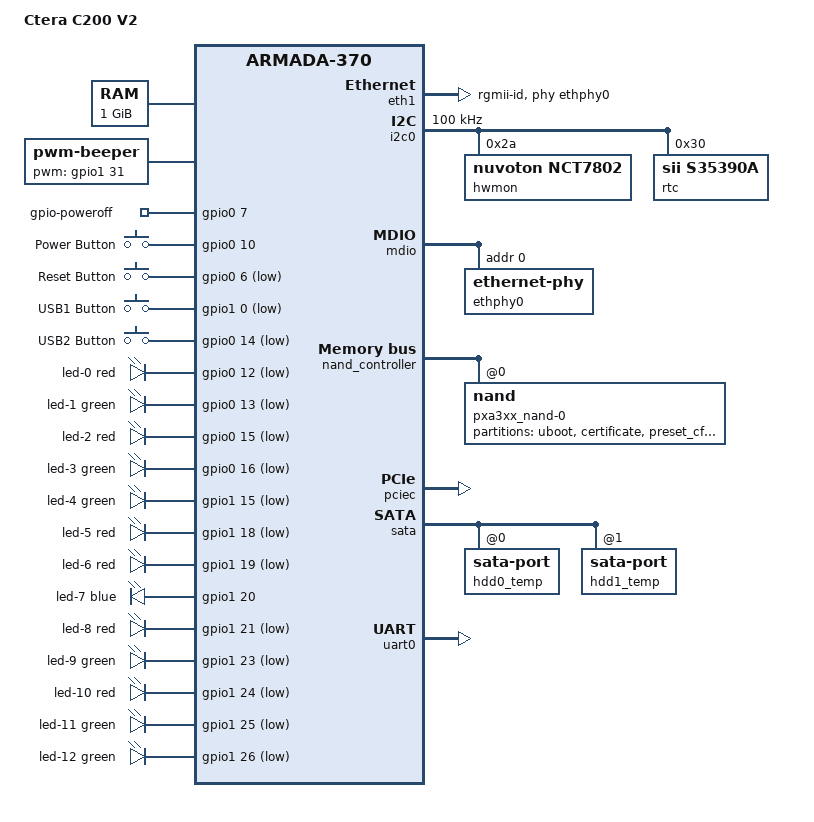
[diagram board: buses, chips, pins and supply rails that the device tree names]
// SPDX-License-Identifier: (GPL-2.0-or-later OR MIT)
/*
 * Device Tree file for Ctera C200-V2
 *
 * Copyright (C) 2022 Pawel Dembicki <paweldembicki@gmail.com>
 */

/dts-v1/;

#include "armada-370.dtsi"
#include <dt-bindings/gpio/gpio.h>
#include <dt-bindings/input/input.h>
#include <dt-bindings/thermal/thermal.h>
#include <dt-bindings/leds/common.h>

/ {
	model = "Ctera C200 V2";
	compatible = "ctera,c200-v2", "marvell,armada370", "marvell,armada-370-xp";

	chosen {
		bootargs = "console=ttyS0,115200";
		stdout-path = "serial0:115200n8";
	};

	memory {
		device_type = "memory";
		reg = <0x00000000 0x40000000>; /* 1024 MB */
	};

	soc {
		ranges = <MBUS_ID(0xf0, 0x01) 0 0xd0000000 0x100000
			  MBUS_ID(0x01, 0xe0) 0 0xfff00000 0x100000
			  MBUS_ID(0x09, 0x01) 0 0xf1100000 0x10000>;
	};

	thermal-zones {
		ethphy-thermal {
			polling-delay = <20000>;
			polling-delay-passive = <2000>;

			thermal-sensors = <&ethphy0>;

			trips {
				ethphy_alert1: trip1 {
					temperature = <65000>;
					hysteresis = <4000>;
					type = "passive";
				};

				ethphy_crit: trip2 {
					temperature = <100000>;
					hysteresis = <2000>;
					type = "critical";
				};
			};
		};
	};

	beeper {
		compatible = "pwm-beeper";
		pinctrl-0 = <&pmx_beeper>;
		pinctrl-names = "default";
		pwms = <&gpio1 31 4000>;
	};

	gpio-poweroff {
		compatible = "gpio-poweroff";
		pinctrl-0 = <&pmx_poweroff>;
		pinctrl-names = "default";
		gpios = <&gpio0 7 GPIO_ACTIVE_HIGH>;
	};

	keys {
		compatible = "gpio-keys";
		pinctrl-0 = <&pmx_buttons>;
		pinctrl-names = "default";

		button-power {
			label = "Power Button";
			linux,code = <KEY_POWER>;
			gpios = <&gpio0 10 GPIO_ACTIVE_HIGH>;
		};

		button-reset {
			label = "Reset Button";
			linux,code = <KEY_RESTART>;
			gpios = <&gpio0 6 GPIO_ACTIVE_LOW>;
		};

		button-usb1 {
			label = "USB1 Button";
			linux,code = <BTN_0>;
			gpios = <&gpio1 0 GPIO_ACTIVE_LOW>;
		};

		button-usb2 {
			label = "USB2 Button";
			linux,code = <BTN_1>;
			gpios = <&gpio0 14 GPIO_ACTIVE_LOW>;
		};
	};

	leds {
		compatible = "gpio-leds";
		pinctrl-0 = <&pmx_leds1 &pmx_leds2>;
		pinctrl-names = "default";

		led-0 {
			function = LED_FUNCTION_USB;
			function-enumerator = <2>;
			color = <LED_COLOR_ID_RED>;
			gpios = <&gpio0 12 GPIO_ACTIVE_LOW>;
		};

		led-1 {
			function = LED_FUNCTION_USB;
			function-enumerator = <2>;
			color = <LED_COLOR_ID_GREEN>;
			gpios = <&gpio0 13 GPIO_ACTIVE_LOW>;
		};

		led-2 {
			function = LED_FUNCTION_USB;
			function-enumerator = <1>;
			color = <LED_COLOR_ID_RED>;
			gpios = <&gpio0 15 GPIO_ACTIVE_LOW>;
		};

		led-3 {
			function = LED_FUNCTION_USB;
			function-enumerator = <1>;
			color = <LED_COLOR_ID_GREEN>;
			gpios = <&gpio0 16 GPIO_ACTIVE_LOW>;
		};

		led-4 {
			function = LED_FUNCTION_DISK;
			function-enumerator = <2>;
			color = <LED_COLOR_ID_GREEN>;
			gpios = <&gpio1 15 GPIO_ACTIVE_LOW>;
		};

		led-5 {
			function = LED_FUNCTION_DISK;
			function-enumerator = <1>;
			color = <LED_COLOR_ID_RED>;
			gpios = <&gpio1 18 GPIO_ACTIVE_LOW>;
		};

		led-6 {
			function = LED_FUNCTION_DISK;
			function-enumerator = <2>;
			color = <LED_COLOR_ID_RED>;
			gpios = <&gpio1 19 GPIO_ACTIVE_LOW>;
		};

		led-7 {
			function = LED_FUNCTION_INDICATOR;
			color = <LED_COLOR_ID_BLUE>;
			gpios = <&gpio1 20 GPIO_ACTIVE_HIGH>;
		};

		led-8 {
			function = LED_FUNCTION_DISK_ERR;
			color = <LED_COLOR_ID_RED>;
			gpios = <&gpio1 21 GPIO_ACTIVE_LOW>;
		};

		led-9 {
			function = LED_FUNCTION_DISK_ERR;
			color = <LED_COLOR_ID_GREEN>;
			gpios = <&gpio1 23 GPIO_ACTIVE_LOW>;
		};

		led-10 {
			function = LED_FUNCTION_STATUS;
			color = <LED_COLOR_ID_RED>;
			gpios = <&gpio1 24 GPIO_ACTIVE_LOW>;
		};

		led-11 {
			function = LED_FUNCTION_DISK;
			function-enumerator = <1>;
			color = <LED_COLOR_ID_GREEN>;
			gpios = <&gpio1 25 GPIO_ACTIVE_LOW>;
		};

		led-12 {
			function = LED_FUNCTION_STATUS;
			color = <LED_COLOR_ID_GREEN>;
			gpios = <&gpio1 26 GPIO_ACTIVE_LOW>;
		};
	};
};

&coherencyfab {
	broken-idle;
};

&eth1 {
	pinctrl-0 = <&ge1_rgmii_pins>;
	pinctrl-names = "default";
	status = "okay";
	phy-handle = <&ethphy0>;
	phy-connection-type = "rgmii-id";
};

&i2c0 {
	pinctrl-0 = <&i2c0_pins>;
	pinctrl-names = "default";
	clock-frequency = <100000>;
	status = "okay";

	hwmon@2a {
		compatible = "nuvoton,nct7802";
		reg = <0x2a>;
	};

	rtc@30 {
		compatible = "sii,s35390a";
		reg = <0x30>;
	};
};

&mdio {
	pinctrl-0 = <&mdio_pins>;
	pinctrl-names = "default";

	ethphy0: ethernet-phy@0 { /* Marvell 88E1318 */
		reg = <0>;
		#thermal-sensor-cells = <0>;
	};
};

&nand_controller {
	status = "okay";

	nand@0 {
		reg = <0>;
		label = "pxa3xx_nand-0";
		nand-rb = <0>;
		marvell,nand-keep-config;
		nand-on-flash-bbt;
		nand-ecc-strength = <4>;
		nand-ecc-step-size = <512>;

		partitions {
			compatible = "fixed-partitions";
			#address-cells = <1>;
			#size-cells = <1>;

			partition@0 {
				label = "uboot";
				reg = <0x0000000 0x200000>;
				read-only;
			};

			partition@200000 {
				label = "certificate";
				reg = <0x0200000 0x100000>;
				read-only;
			};

			partition@300000 {
				label = "preset_cfg";
				reg = <0x0300000 0x100000>;
				read-only;
			};

			partition@400000 {
				label = "dev_params";
				reg = <0x0400000 0x100000>;
				read-only;
			};
			partition@500000 {
				label = "active_bank";
				reg = <0x0500000 0x0100000>;
			};

			partition@600000 {
				label = "magic";
				reg = <0x0600000 0x0100000>;
				read-only;
			};

			partition@700000 {
				label = "bank1";
				reg = <0x0700000 0x2800000>;
			};

			partition@2f00000 {
				label = "bank2";
				reg = <0x2f00000 0x2800000>;
			};

			/* 0x5700000-0x5a00000 undefined in vendor firmware */

			partition@5a00000 {
				label = "reserved";
				reg = <0x5a00000 0x2000000>;
			};

			partition@7a00000 {
				label = "rootfs";
				reg = <0x7a00000 0x8600000>;
			};
		};
	};
};

&pciec {
	status = "okay";

	pcie@1,0 { /* Renesas uPD720202 USB 3.0 controller */
		pinctrl-0 = <&pmx_pcie>;
		pinctrl-names = "default";
		status = "okay";
		reset-gpios = <&gpio1 27 GPIO_ACTIVE_LOW>;
	};
};

&pinctrl {
	pmx_poweroff: pmx-poweroff {
		marvell,pins = "mpp7";
		marvell,function = "gpo";
	};

	pmx_power_cpu: pmx-power-cpu {
		marvell,pins = "mpp4";
		marvell,function = "vdd";
	};

	pmx_buttons: pmx-buttons {
		marvell,pins = "mpp6", "mpp10", "mpp14", "mpp32";
		marvell,function = "gpio";
	};

	pmx_leds1: pmx-leds1 {
		marvell,pins = "mpp47";
		marvell,function = "gpo";
	};

	pmx_leds2: pmx-leds2 {
		marvell,pins = "mpp12", "mpp13", "mpp15", "mpp16", "mpp50", "mpp51",
			       "mpp52", "mpp53", "mpp55", "mpp56", "mpp57", "mpp58";
		marvell,function = "gpio";
	};

	pmx_pcie: pmx-pcie {
		marvell,pins = "mpp59";
		marvell,function = "gpio";
	};

	pmx_beeper: pmx-beeper {
		marvell,pins = "mpp63";
		marvell,function = "gpio";
	};
};

&pmsu {
	pinctrl-0 = <&pmx_power_cpu>;
	pinctrl-names = "default";
};

&rtc {
	status = "disabled";
};

&sata {
	nr-ports = <2>;
	status = "okay";
	#address-cells = <1>;
	#size-cells = <0>;

	hdd0_temp: sata-port@0 {
		reg = <0>;
		#thermal-sensor-cells = <0>;
	};

	hdd1_temp: sata-port@1 {
		reg = <1>;
		#thermal-sensor-cells = <0>;
	};
};

&uart0 {
	status = "okay";
};
